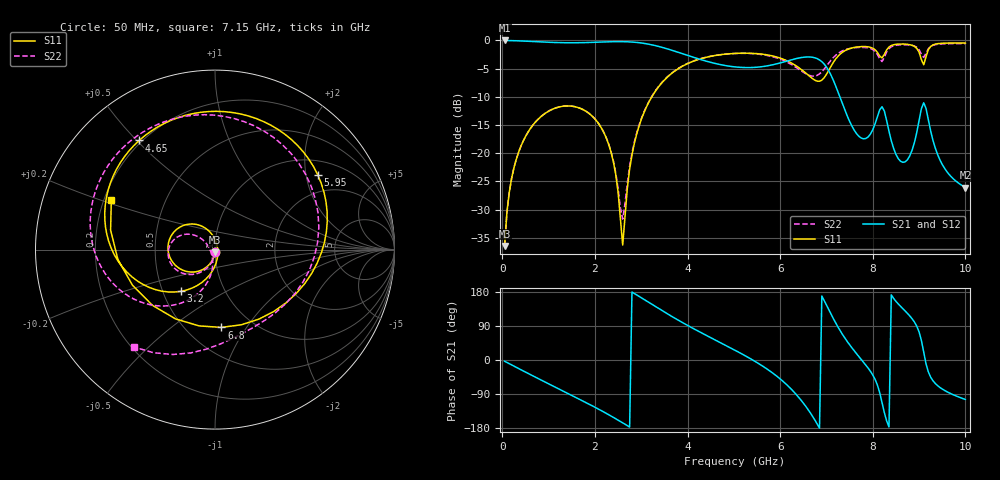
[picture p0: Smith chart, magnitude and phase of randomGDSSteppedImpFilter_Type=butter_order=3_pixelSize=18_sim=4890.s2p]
! freq	dB(S11)	phase(S11)	dB(S12)	phase(S12)
!  dB(S21)	phase(S21)	dB(S22)	phase(S22)
!S-par simulation data
#  GHz  S  DB  R 50
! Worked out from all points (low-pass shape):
!   200 points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, 50 MHz to 10 GHz, reference 50 ohm
!   highest |S21| = -0.01 dB at 50 MHz (marker M1); lowest = -26.1 dB at 10 GHz (marker M2)
!   |S21| within 3 dB of the highest: start of sweep to 4.132 GHz; 6.483 GHz to 6.709 GHz (225.3 MHz wide, 3.42 % of centre)
!   lowest |S11| = -36.5 dB at 50 MHz (marker M3), VSWR 1.03, Z = 49.9 - j1.5 ohm
!   |S11| at or under -10 dB: start of sweep to 3.23 GHz
!   |S22| runs from -36.5 to -0.6 dB; largest |S21 - S12| = 0
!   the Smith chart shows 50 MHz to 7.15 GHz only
!   S11 on the Smith chart (normalised r, x): 50 MHz: 1.00, -0.03; 3.2 GHz: 0.62, -0.32; 4.65 GHz: 0.19, +0.51; 5.95 GHz: 1.40, +2.34; 6.8 GHz: 0.73, -0.78; 7.15 GHz: 0.23, +0.21
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0.05  -36.46 -93.1  -0.01 -3.3  -0.01 -3.3  -36.49 -92.7
0.2  -24.54 -103.7  -0.04 -12.9  -0.04 -12.9  -24.50 -102.1
0.55  -16.34 -127.7  -0.15 -35.0  -0.15 -35.0  -16.34 -123.2
1.75  -12.30 152.8  -0.40 -108.6  -0.40 -108.6  -12.29 169.6
2.35  -19.86 105.8  -0.23 -148.0  -0.23 -148.0  -19.78 141.6
2.6  -36.29 3.5  -0.22 -165.8  -0.22 -165.8  -31.70 -155.3
2.8  -20.32 -91.4  -0.29 179.4  -0.29 179.4  -19.97 -98.0
3.2  -10.41 -129.5  -0.73 149.0  -0.73 149.0  -10.33 -116.2
3.4  -7.97 -146.0  -1.12 134.0  -1.12 134.0  -7.91 -129.1
4.65  -2.61 124.8  -4.19 49.6  -4.19 49.6  -2.60 153.9
5.05  -2.30 99.1  -4.72 24.2  -4.72 24.2  -2.31 129.5
5.95  -3.00 36.0  -4.10 -44.8  -4.10 -44.8  -3.16 57.3
6.4  -4.82 -7.5  -3.13 -98.4  -3.13 -98.4  -5.10 -3.6
6.7  -6.78 -57.7  -2.99 -148.6  -2.99 -148.6  -6.34 -54.6
6.8  -7.23 -85.3  -3.24 -168.9  -3.24 -168.9  -6.20 -70.9
7.15  -3.88 154.5  -7.10 109.0  -7.10 109.0  -3.02 -129.8
7.5  -1.46 84.4  -14.36 40.2  -14.36 40.2  -1.44 175.9
8.35  -1.17 25.3  -16.11 -176.6  -16.11 -176.6  -1.44 114.9
8.7  -0.66 0.4  -21.53 129.2  -21.53 129.2  -0.76 86.0
9.1  -4.32 -9.8  -11.06 20.4  -11.06 20.4  -3.01 67.1
9.3  -0.80 -12.5  -17.73 -54.8  -17.73 -54.8  -0.87 61.2
10  -0.47 -43.5  -26.09 -104.2  -26.09 -104.2  -0.57 23.1
